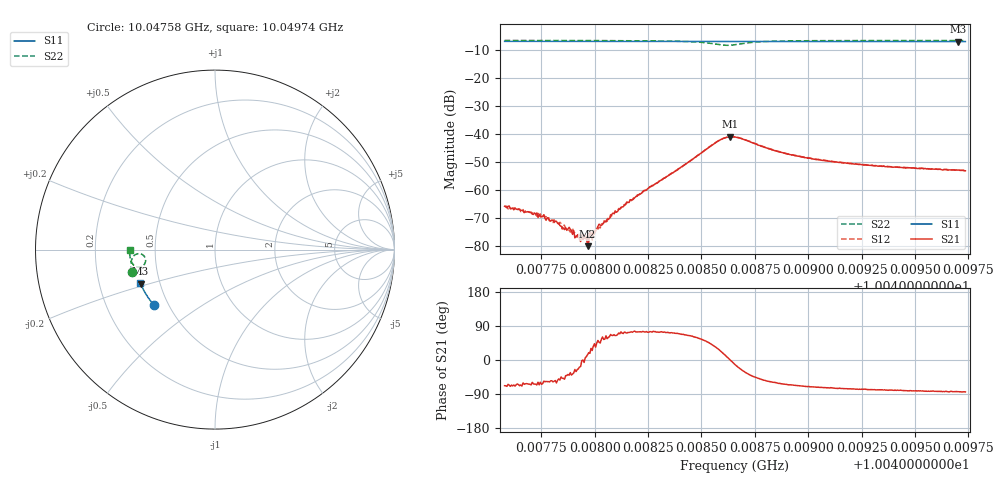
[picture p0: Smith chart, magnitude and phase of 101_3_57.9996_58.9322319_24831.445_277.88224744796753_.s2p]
#  HZ  S  RI  R  50.00
! Rohde & Schwarz Vector Network Analyzer
! Rohde-Schwarz,ZNB20-2Port,1311601062101988,3.16
! Created: UTC 3/21/2024, 12:54:49 AM
! freq[Hz]  re:S11  im:S11  re:S21  im:S21  re:S12  im:S12  re:S22  im:S22
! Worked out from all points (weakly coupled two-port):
!   401 points, 10.04758 GHz to 10.04974 GHz, reference 50 ohm
!   highest |S21| = -40.94 dB at 10.04864 GHz (marker M1); lowest = -80.2 dB at 10.04797 GHz (marker M2)
!   lowest |S11| = -6.8 dB at 10.0497 GHz (marker M3), VSWR 2.68, Z = 19.4 - j9.28 ohm
!   |S11| at or under -10 dB: nowhere
!   |S22| runs from -8.2 to -6.4 dB; largest |S21 - S12| = 0.0006
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1.0047578e10  -0.3415 -0.3083  0.000192 -0.000472  0.000234 -0.000465  -0.4612 -0.1229
1.0047772e10  -0.3498 -0.2982  0.000158 -0.000239  0.000196 -0.000269  -0.4639 -0.1087
1.004781e10  -0.3512 -0.2962  0.000145 -0.000217  0.000199 -0.000211  -0.4644 -0.1059
1.0047858e10  -0.3533 -0.2937  0.000124 -0.000151  0.000186 -0.000137  -0.4651 -0.102
1.0047891e10  -0.3546 -0.2918  0.000141 -0.000117  0.000155 -0.000102  -0.4653 -0.0995
1.0047918e10  -0.3557 -0.2904  0.000136 -6.46e-05  0.000135 -4.47e-05  -0.4658 -0.0971
1.0047939e10  -0.3566 -0.2893  0.000155 -4.54e-06  0.000143 -1.6e-05  -0.4659 -0.0955
1.0047966e10  -0.3576 -0.288  9.53e-05 2.36e-05  0.000108 3.1e-05  -0.4662 -0.0932
1.0047977e10  -0.358 -0.2874  0.000177 5.64e-05  0.000151 7.58e-05  -0.4663 -0.0923
1.0047988e10  -0.3584 -0.2868  0.000114 5.36e-05  0.00015 9.73e-05  -0.4664 -0.0914
1.0048015e10  -0.3596 -0.2854  0.000138 0.000174  0.000134 0.000148  -0.4665 -0.089
1.004809e10  -0.3626 -0.2813  0.000147 0.000344  0.000124 0.000353  -0.4669 -0.0822
1.0048193e10  -0.3666 -0.2759  0.000212 0.00073  0.000174 0.000732  -0.4672 -0.072
1.0048301e10  -0.3706 -0.2699  0.000409 0.00134  0.000287 0.0014  -0.4653 -0.0592
1.0048571e10  -0.3799 -0.2547  0.00615 0.00386  0.00588 0.00424  -0.408 -0.026
1.0048635e10  -0.3818 -0.2513  0.00897 -0.000146  0.00899 0.000449  -0.3867 -0.0645
1.0048657e10  -0.3825 -0.2503  0.0087 -0.00186  0.00884 -0.00129  -0.392 -0.0797
1.0048857e10  -0.3899 -0.2394  0.00239 -0.00426  0.00263 -0.00419  -0.458 -0.0812
1.0049018e10  -0.3952 -0.23  0.00118 -0.00341  0.00141 -0.00335  -0.469 -0.0603
1.004938e10  -0.4063 -0.2088  0.000496 -0.00257  0.000612 -0.00254  -0.475 -0.0272
1.0049703e10  -0.4149 -0.1892  0.000254 -0.00226  0.000379 -0.00223  -0.476 -0.0026
1.0049736e10  -0.416 -0.1873  0.000222 -0.00219  0.000358 -0.00221  -0.476 -0.000238
